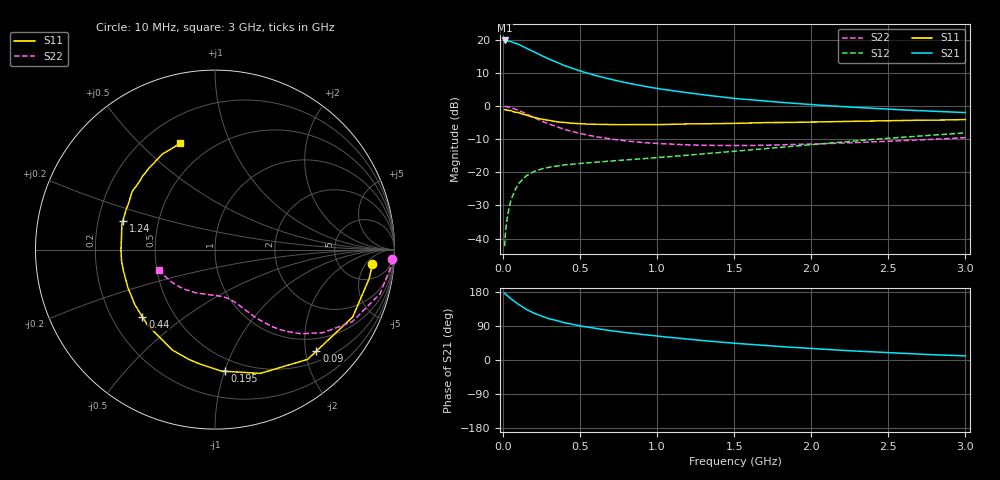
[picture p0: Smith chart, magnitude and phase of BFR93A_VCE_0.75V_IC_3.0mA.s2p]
! Infineon Technologies  Discrete & RF Semiconductors
! BFR93A
! VCE = 0.75 V,  IC =  3.0 mA
! Common Emitter S-Parameters:  Nov 2015
# GHz  S  MA  R  50
!  f  S11  S21  S12  S22
! GHz  MAG  ANG  MAG  ANG  MAG  ANG  MAG  ANG
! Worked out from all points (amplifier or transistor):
!   180 points, 10 MHz to 3 GHz, reference 50 ohm
!   highest |S21| = 19.8 dB at 10 MHz (marker M1)
!   |S21| within 3 dB of that: start of sweep to 180.8 MHz
!   unconditionally stable (mu >= 1): 828.3 MHz to end of sweep
!   at 160 MHz: K = 0.26, MSG = 19.0 dB, |S12| = -20.8 dB
!   at 1.22 GHz: K = 1.17, MAG = 6.8 dB, |S12| = -14.7 dB
!   at 3 GHz: K = 1.05, MAG = 1.6 dB, |S12| = -8.1 dB
!   S11 on the Smith chart (normalised r, x): 10 MHz: 10, -8; 90 MHz: 0.71, -2.22; 195 MHz: 0.40, -1.00; 440 MHz: 0.33, -0.36; 1.24 GHz: 0.31, +0.14; 3 GHz: 0.34, +0.67
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0.01  0.8805 -5.4  9.731 176.2  0.0077 88.1  0.9874 -3.1
0.025  0.8666 -13.1  9.62 170.7  0.019 80.7  0.9753 -7.5
0.05  0.8542 -26.1  9.376 161.7  0.0371 75.4  0.952 -15.0
0.09  0.7992 -45.0  8.639 149.8  0.061 64.9  0.8781 -25.0
0.1  0.7999 -49.9  8.518 146.6  0.0672 63.5  0.8642 -27.7
0.15  0.7342 -70.0  7.485 133.6  0.0881 54.2  0.7614 -37.4
0.195  0.6801 -85.3  6.642 124.6  0.1012 48.4  0.6787 -43.6
0.24  0.6408 -98.4  5.897 117.0  0.1105 44.0  0.6076 -48.6
0.26  0.6282 -103.6  5.608 113.9  0.1139 42.5  0.5803 -50.5
0.3  0.608 -113.0  5.085 108.6  0.1195 40.1  0.5325 -53.6
0.4  0.5644 -131.7  4.057 98.0  0.1293 36.5  0.4426 -59.1
0.44  0.5515 -137.1  3.774 95.1  0.132 35.8  0.4193 -60.4
0.52  0.5378 -147.7  3.27 88.7  0.1373 34.8  0.3768 -63.3
0.6  0.5293 -156.5  2.88 83.2  0.1422 34.6  0.3447 -65.8
0.7  0.5245 -165.3  2.515 77.2  0.1481 35.0  0.3173 -68.7
0.88  0.5237 -178.3  2.056 68.5  0.1585 36.5  0.2853 -74.2
1.02  0.5246 173.7  1.809 62.2  0.168 37.9  0.2709 -78.5
1.24  0.5377 162.6  1.537 53.5  0.1848 40.0  0.2574 -86.8
1.52  0.5473 151.2  1.29 43.7  0.2094 42.1  0.2536 -98.0
2.02  0.5743 134.5  1.041 29.9  0.2639 43.3  0.2671 -118.8
2.52  0.6016 120.7  0.892 19.1  0.3287 40.8  0.2955 -139.6
3  0.6244 108.0  0.796 10.9  0.3931 35.8  0.3333 -160.1
